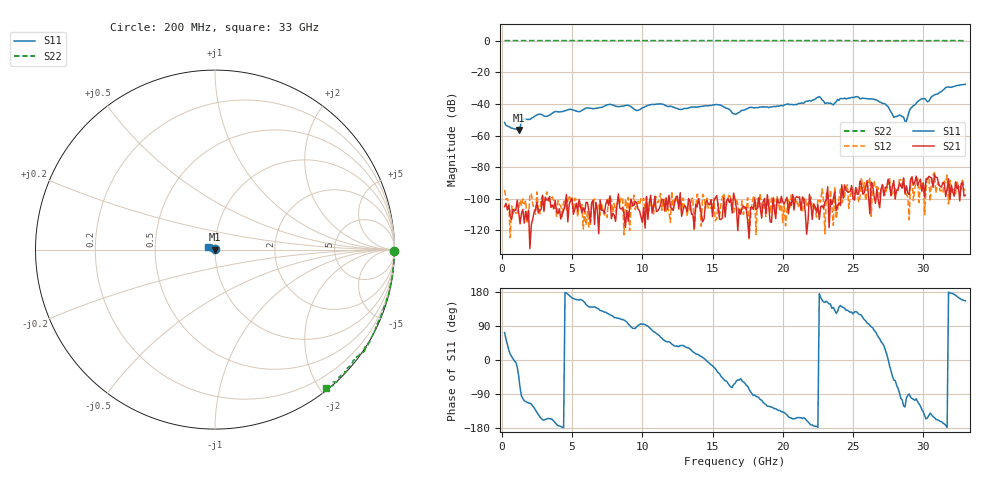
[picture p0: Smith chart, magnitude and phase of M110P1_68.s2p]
# GHZ S RI R 50
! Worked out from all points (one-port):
!   329 points, 200 MHz to 33 GHz, reference 50 ohm
!   lowest |S11| = -56.6 dB at 1.2 GHz (marker M1), VSWR 1.00, Z = 50.1 - j0.0988 ohm
!   |S11| at or under -10 dB: start of sweep to end of sweep
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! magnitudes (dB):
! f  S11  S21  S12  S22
! 200 MHz  -51.8  -105.0  -94.4  0.0
! 1.2 GHz  -56.6  -108.1  -106.4  0.0
! 1.5 GHz  -49.9  -106.7  -100.1  0.0
! 2.6 GHz  -46.6  -109.0  -107.3  0.0
! 5.7 GHz  -44.1  -108.8  -103.6  0.0
! 7.7 GHz  -40.3  -98.1  -98.9  0.0
! 9.6 GHz  -44.3  -102.9  -103.0  0.0
! 11.2 GHz  -40.0  -106.3  -101.1  0.0
! 12.7 GHz  -43.5  -96.2  -100.1  0.0
! 15.3 GHz  -40.4  -97.9  -112.5  0.0
! 16.6 GHz  -46.5  -100.2  -105.0  0.0
! 22.1 GHz  -37.8  -113.0  -105.8  0.0
! 22.6 GHz  -35.4  -113.0  -101.5  0.0
! 23.6 GHz  -40.6  -99.9  -116.8  0.0
! 25.3 GHz  -35.5  -97.2  -93.6  -0.1
! 27.6 GHz  -43.5  -90.6  -86.5  -0.1
! 27.9 GHz  -48.5  -88.5  -95.3  -0.1
! 28.8 GHz  -51.0  -91.8  -97.3  -0.1
! 29.1 GHz  -42.9  -87.7  -88.9  0.0
! 29.8 GHz  -37.2  -87.7  -90.0  -0.1
! 30.3 GHz  -38.7  -87.6  -86.3  -0.1
! 33 GHz  -27.7  -97.7  -94.3  -0.1
